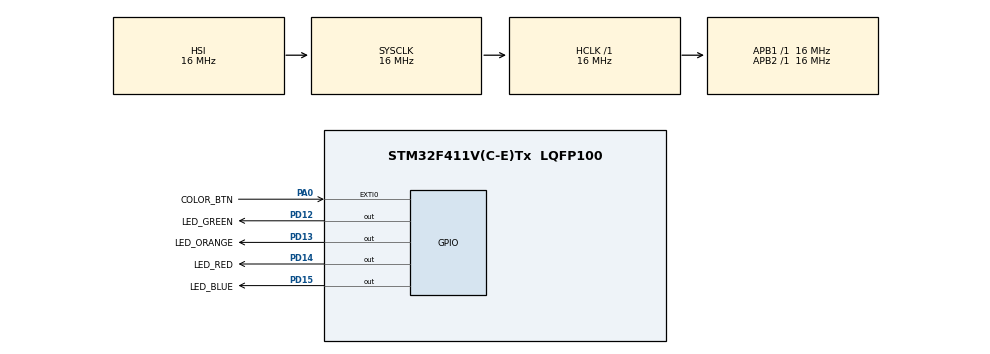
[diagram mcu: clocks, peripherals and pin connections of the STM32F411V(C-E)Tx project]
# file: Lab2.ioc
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Mcu.Family=STM32F4
Mcu.Name=STM32F411V(C-E)Tx
Mcu.Package=LQFP100
NVIC.EXTI0_IRQn=true\:0\:0\:false\:false\:true\:true\:true\:true
NVIC.PriorityGroup=NVIC_PRIORITYGROUP_4
PA0-WKUP.GPIO_Label=COLOR_BTN
PA0-WKUP.Signal=GPXTI0
PD12.GPIO_Label=LED_GREEN
PD12.Signal=GPIO_Output
PD13.GPIO_Label=LED_ORANGE
PD13.Signal=GPIO_Output
PD14.GPIO_Label=LED_RED
PD14.Signal=GPIO_Output
PD15.GPIO_Label=LED_BLUE
PD15.Signal=GPIO_Output
ProjectManager.HeapSize=0x200
ProjectManager.StackSize=0x400
ProjectManager.TargetToolchain=STM32CubeIDE
RCC.AHBFreq_Value=16000000
RCC.APB1Freq_Value=16000000
RCC.APB2Freq_Value=16000000
RCC.CortexFreq_Value=16000000
RCC.HSE_VALUE=25000000
RCC.HSI_VALUE=16000000
RCC.LSE_VALUE=32768
RCC.SYSCLKFreq_VALUE=16000000
RCC.VCOOutputFreq_Value=192000000
board=custom

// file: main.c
/* USER CODE BEGIN Header */
/**
  ******************************************************************************
  * @file           : main.c
  * @brief          : Main program body
  ******************************************************************************
  * @attention
  *
  * Copyright (c) 2023 STMicroelectronics.
  * All rights reserved.
  *
  * This software is licensed under terms that can be found in the LICENSE file
  * in the root directory of this software component.
  * If no LICENSE file comes with this software, it is provided AS-IS.
  *
  ******************************************************************************
  */
/* USER CODE END Header */
#include "main.h"

/* USER CODE BEGIN PTD */

#define LED_SWITCH_DELAY (500)
/* USER CODE END PTD */

/* USER CODE BEGIN PV */

unsigned int ledN = 0;
/* USER CODE END PV */

void SystemClock_Config(void);
static void MX_GPIO_Init(void);

int main(void)
{

  /* MCU Configuration--------------------------------------------------------*/

  /* Reset of all peripherals, Initializes the Flash interface and the Systick. */
  HAL_Init();

  /* Configure the system clock */
  SystemClock_Config();

  /* Initialize all configured peripherals */
  MX_GPIO_Init();

  /* Infinite loop */
  /* USER CODE BEGIN WHILE */
  while (1)
  {
	  if (ledN == 0)
	  {
		  HAL_GPIO_WritePin(LED_BLUE_GPIO_Port, LED_BLUE_Pin, GPIO_PIN_SET);
		  HAL_GPIO_WritePin(LED_ORANGE_GPIO_Port, LED_ORANGE_Pin, GPIO_PIN_SET);
		  HAL_Delay(LED_SWITCH_DELAY);
		  HAL_GPIO_WritePin(LED_BLUE_GPIO_Port, LED_BLUE_Pin, GPIO_PIN_RESET);
		  HAL_GPIO_WritePin(LED_ORANGE_GPIO_Port, LED_ORANGE_Pin, GPIO_PIN_RESET);
		  HAL_Delay(LED_SWITCH_DELAY);
	  }
	  else if (ledN == 1)
	  {
		  HAL_GPIO_WritePin(LED_GREEN_GPIO_Port, LED_GREEN_Pin, GPIO_PIN_SET);
		  HAL_GPIO_WritePin(LED_RED_GPIO_Port, LED_RED_Pin, GPIO_PIN_SET);
  		  HAL_Delay(LED_SWITCH_DELAY);
  		  HAL_GPIO_WritePin(LED_GREEN_GPIO_Port, LED_GREEN_Pin, GPIO_PIN_RESET);
  		  HAL_GPIO_WritePin(LED_RED_GPIO_Port, LED_RED_Pin, GPIO_PIN_RESET);
		  HAL_Delay(LED_SWITCH_DELAY);
	  }
	  else if (ledN == 2)
	  {
	      HAL_GPIO_WritePin(LED_BLUE_GPIO_Port, LED_BLUE_Pin, GPIO_PIN_SET);
	      HAL_Delay(LED_SWITCH_DELAY);

	      HAL_GPIO_WritePin(LED_ORANGE_GPIO_Port, LED_ORANGE_Pin, GPIO_PIN_SET);
	      HAL_Delay(LED_SWITCH_DELAY);

	      HAL_GPIO_WritePin(LED_GREEN_GPIO_Port, LED_GREEN_Pin, GPIO_PIN_SET);
	      HAL_Delay(LED_SWITCH_DELAY);

	      HAL_GPIO_WritePin(LED_RED_GPIO_Port, LED_RED_Pin, GPIO_PIN_SET);
		  HAL_Delay(LED_SWITCH_DELAY);

		  HAL_GPIO_WritePin(LED_BLUE_GPIO_Port, LED_BLUE_Pin, GPIO_PIN_RESET);
		  HAL_Delay(LED_SWITCH_DELAY);

		  HAL_GPIO_WritePin(LED_ORANGE_GPIO_Port, LED_ORANGE_Pin, GPIO_PIN_RESET);
		  HAL_Delay(LED_SWITCH_DELAY);

	      HAL_GPIO_WritePin(LED_GREEN_GPIO_Port, LED_GREEN_Pin, GPIO_PIN_RESET);
	   	  HAL_Delay(LED_SWITCH_DELAY);

	   	  HAL_GPIO_WritePin(LED_RED_GPIO_Port, LED_RED_Pin, GPIO_PIN_RESET);
	      HAL_Delay(LED_SWITCH_DELAY);
	  }
	  else
	  {
		  HAL_GPIO_WritePin(LED_BLUE_GPIO_Port, LED_BLUE_Pin, GPIO_PIN_SET);
  	      HAL_GPIO_WritePin(LED_ORANGE_GPIO_Port, LED_ORANGE_Pin, GPIO_PIN_SET);
	      HAL_GPIO_WritePin(LED_GREEN_GPIO_Port, LED_GREEN_Pin, GPIO_PIN_SET);
	      HAL_GPIO_WritePin(LED_RED_GPIO_Port, LED_RED_Pin, GPIO_PIN_SET);
		  HAL_Delay(LED_SWITCH_DELAY);
		  HAL_GPIO_WritePin(LED_BLUE_GPIO_Port, LED_BLUE_Pin, GPIO_PIN_RESET);
  	      HAL_GPIO_WritePin(LED_ORANGE_GPIO_Port, LED_ORANGE_Pin, GPIO_PIN_RESET);
	      HAL_GPIO_WritePin(LED_GREEN_GPIO_Port, LED_GREEN_Pin, GPIO_PIN_RESET);
	      HAL_GPIO_WritePin(LED_RED_GPIO_Port, LED_RED_Pin, GPIO_PIN_RESET);
		  HAL_Delay(LED_SWITCH_DELAY);
	  }

    /* USER CODE END WHILE */

  }
}

void SystemClock_Config(void)
{
  RCC_OscInitTypeDef RCC_OscInitStruct = {0};
  RCC_ClkInitTypeDef RCC_ClkInitStruct = {0};

  /** Configure the main internal regulator output voltage
  */
  __HAL_RCC_PWR_CLK_ENABLE();
  __HAL_PWR_VOLTAGESCALING_CONFIG(PWR_REGULATOR_VOLTAGE_SCALE1);

  /** Initializes the RCC Oscillators according to the specified parameters
  * in the RCC_OscInitTypeDef structure.
  */
  RCC_OscInitStruct.OscillatorType = RCC_OSCILLATORTYPE_HSI;
  RCC_OscInitStruct.HSIState = RCC_HSI_ON;
  RCC_OscInitStruct.HSICalibrationValue = RCC_HSICALIBRATION_DEFAULT;
  RCC_OscInitStruct.PLL.PLLState = RCC_PLL_NONE;
  if (HAL_RCC_OscConfig(&RCC_OscInitStruct) != HAL_OK)
  {
    Error_Handler();
  }

  /** Initializes the CPU, AHB and APB buses clocks
  */
  RCC_ClkInitStruct.ClockType = RCC_CLOCKTYPE_HCLK|RCC_CLOCKTYPE_SYSCLK
                              |RCC_CLOCKTYPE_PCLK1|RCC_CLOCKTYPE_PCLK2;
  RCC_ClkInitStruct.SYSCLKSource = RCC_SYSCLKSOURCE_HSI;
  RCC_ClkInitStruct.AHBCLKDivider = RCC_SYSCLK_DIV1;
  RCC_ClkInitStruct.APB1CLKDivider = RCC_HCLK_DIV1;
  RCC_ClkInitStruct.APB2CLKDivider = RCC_HCLK_DIV1;

  if (HAL_RCC_ClockConfig(&RCC_ClkInitStruct, FLASH_LATENCY_0) != HAL_OK)
  {
    Error_Handler();
  }
}

static void MX_GPIO_Init(void)
{
  GPIO_InitTypeDef GPIO_InitStruct = {0};

  /* GPIO Ports Clock Enable */
  __HAL_RCC_GPIOA_CLK_ENABLE();
  __HAL_RCC_GPIOD_CLK_ENABLE();

  /*Configure GPIO pin Output Level */
  HAL_GPIO_WritePin(GPIOD, LED_GREEN_Pin|LED_ORANGE_Pin|LED_RED_Pin|LED_BLUE_Pin, GPIO_PIN_RESET);

  /*Configure GPIO pin : COLOR_BTN_Pin */
  GPIO_InitStruct.Pin = COLOR_BTN_Pin;
  GPIO_InitStruct.Mode = GPIO_MODE_IT_RISING;
  GPIO_InitStruct.Pull = GPIO_NOPULL;
  HAL_GPIO_Init(COLOR_BTN_GPIO_Port, &GPIO_InitStruct);

  /*Configure GPIO pins : LED_GREEN_Pin LED_ORANGE_Pin LED_RED_Pin LED_BLUE_Pin */
  GPIO_InitStruct.Pin = LED_GREEN_Pin|LED_ORANGE_Pin|LED_RED_Pin|LED_BLUE_Pin;
  GPIO_InitStruct.Mode = GPIO_MODE_OUTPUT_PP;
  GPIO_InitStruct.Pull = GPIO_NOPULL;
  GPIO_InitStruct.Speed = GPIO_SPEED_FREQ_LOW;
  HAL_GPIO_Init(GPIOD, &GPIO_InitStruct);

  /* EXTI interrupt init*/
  HAL_NVIC_SetPriority(EXTI0_IRQn, 0, 0);
  HAL_NVIC_EnableIRQ(EXTI0_IRQn);

}

void Error_Handler(void)
{
  __disable_irq();
  while (1)
  {
  }
}
